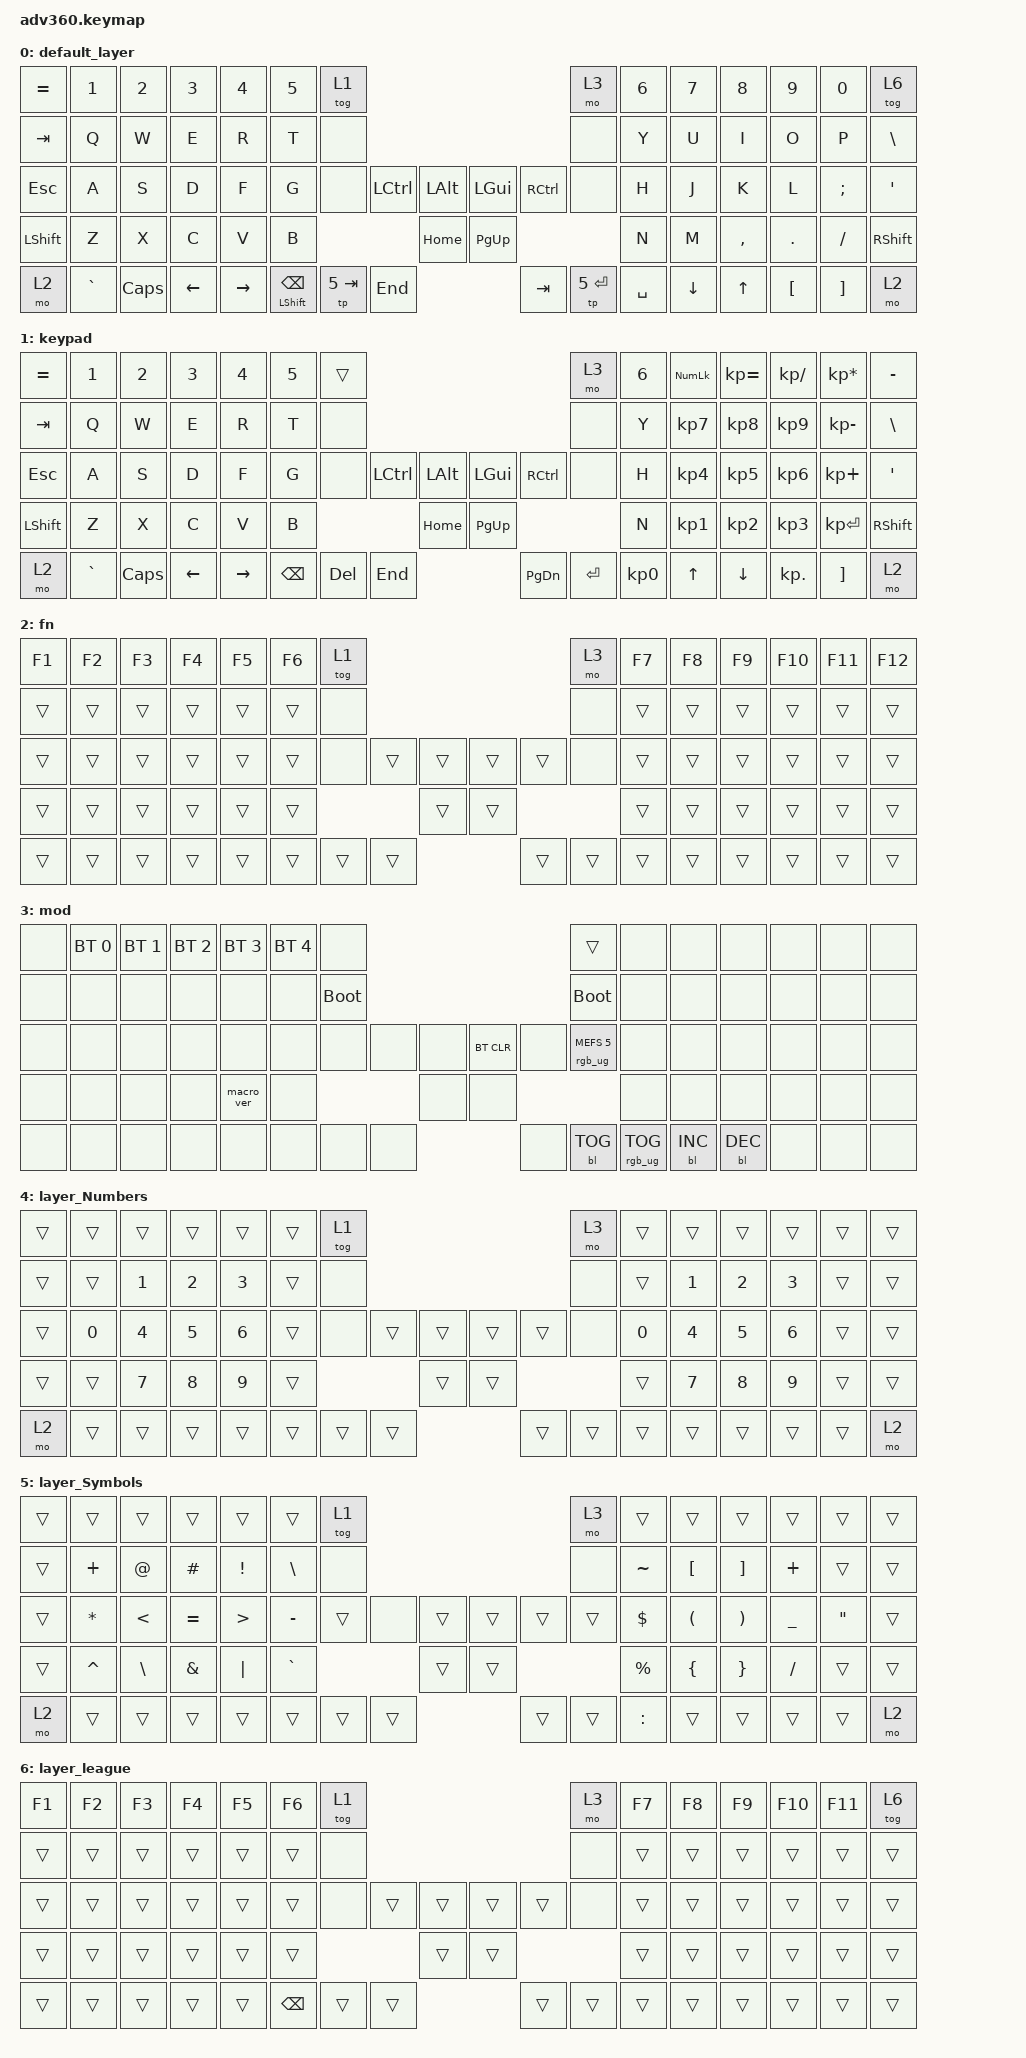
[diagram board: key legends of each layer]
#include <behaviors.dtsi>
#include <dt-bindings/zmk/keys.h>
#include <dt-bindings/zmk/bt.h>
#include <dt-bindings/zmk/rgb.h>
#include <dt-bindings/zmk/backlight.h>

/** shift if held, backspace if pressed */
#define BACK_SFT  &mt LEFT_SHIFT BACKSPACE
/** tab if pressed, swap to layer 2 if held */
#define TAB_2    &tp 5 TAB
/** enter if pressed, swap to layer 2 if held */
#define ENTER_2  &tp 5 ENTER 

/ {
    behaviors {
      #include "macros.dtsi"
      #include "version.dtsi"
      #include "behaviors.dtsi"
      #include "combos.dtsi"
      #ifndef VERSION_MACRO
      macro_ver: macro_ver {
        compatible = "zmk,behavior-macro";
        label = "macro_version";
        #binding-cells = <0>;
        bindings = <&kp RET>;
      };
      #endif

      hm: homerow_mods {
          compatible = "zmk,behavior-hold-tap";
          label = "HOMEROW_MODS";
          #binding-cells = <2>;
          tapping-term-ms = <200>;
          quick_tap_ms = <175>;
          flavor = "tap-preferred";
          bindings = <&kp>, <&kp>;
      };
    };

  keymap {
    compatible = "zmk,keymap";

    default_layer {
      bindings = <
        &kp EQUAL &kp N1    &kp N2   &kp N3   &kp N4     &kp N5 &tog 1                                                           &mo 3 &kp N6 &kp N7   &kp N8    &kp N9   &kp N0   &tog 6
        &kp TAB   &kp Q     &kp W    &kp E    &kp R      &kp T  &none                                                            &none &kp Y  &kp U    &kp I     &kp O    &kp P    &kp BSLH
        &kp ESC   &kp A     &kp S    &kp D    &kp F      &kp G  &none           &kp LCTRL &kp LALT &kp LGUI  &kp RCTRL           &none &kp H  &kp J    &kp K     &kp L    &kp SEMI &kp SQT
        &kp LSHFT &kp Z     &kp X    &kp C    &kp V      &kp B                            &kp HOME &kp PG_UP                           &kp N  &kp M    &kp COMMA &kp DOT  &kp FSLH &kp RSHFT
        &mo 2     &kp GRAVE &kp CAPS &kp LEFT &kp RIGHT                BACK_SFT TAB_2     &kp END  &kp TAB   ENTER_2   &kp SPACE              &kp DOWN &kp UP    &kp LBKT &kp RBKT &mo 2
      >;
    };
    keypad {
      bindings = <
        &kp EQUAL &kp N1    &kp N2   &kp N3   &kp N4     &kp N5 &trans                                                           &mo 3 &kp N6 &kp KP_NUM &kp KP_EQUAL &kp KP_DIVIDE &kp KP_MULTIPLY &kp MINUS
        &kp TAB   &kp Q     &kp W    &kp E    &kp R      &kp T  &none                                                            &none &kp Y  &kp KP_N7  &kp KP_N8    &kp KP_N9     &kp KP_MINUS    &kp BSLH
        &kp ESC   &kp A     &kp S    &kp D    &kp F      &kp G  &none           &kp LCTRL &kp LALT &kp LGUI  &kp RCTRL           &none &kp H  &kp KP_N4  &kp KP_N5    &kp KP_N6     &kp KP_PLUS     &kp SQT
        &kp LSHFT &kp Z     &kp X    &kp C    &kp V      &kp B                            &kp HOME &kp PG_UP                           &kp N  &kp KP_N1  &kp KP_N2    &kp KP_N3     &kp KP_ENTER    &kp RSHFT
        &mo 2     &kp GRAVE &kp CAPS &kp LEFT &kp RIGHT                &kp BSPC &kp DEL   &kp END  &kp PG_DN &kp ENTER &kp KP_N0              &kp UP     &kp DOWN     &kp KP_DOT    &kp RBKT        &mo 2
      >;
    };
    fn {
      bindings = <
        &kp F1 &kp F2 &kp F3 &kp F4 &kp F5 &kp F6 &tog 1                                           &mo 3 &kp F7 &kp F8 &kp F9 &kp F10 &kp F11 &kp F12
        &trans &trans &trans &trans &trans &trans  &none                                           &none &trans &trans &trans &trans  &trans  &trans
        &trans &trans &trans &trans &trans &trans  &none        &trans &trans &trans &trans        &none &trans &trans &trans &trans  &trans  &trans
        &trans &trans &trans &trans &trans &trans                      &trans &trans                     &trans &trans &trans &trans  &trans  &trans
        &trans &trans &trans &trans &trans               &trans &trans &trans &trans &trans &trans              &trans &trans &trans  &trans  &trans
      >;
    };
    mod {
      bindings = <
        &none &bt BT_SEL 0 &bt BT_SEL 1 &bt BT_SEL 2 &bt BT_SEL 3 &bt BT_SEL 4 &none                                                                     &trans                 &none        &none        &none        &none &none &none
        &none &none        &none        &none        &none        &none        &bootloader                                                               &bootloader            &none        &none        &none        &none &none &none
        &none &none        &none        &none        &none        &none        &none                   &none &none &bt BT_CLR &none                      &rgb_ug RGB_MEFS_CMD 5 &none        &none        &none        &none &none &none
        &none &none        &none        &none        &macro_ver   &none                                      &none &none                                                        &none        &none        &none        &none &none &none
        &none &none        &none        &none        &none                                       &none &none &none &none      &bl BL_TOG &rgb_ug RGB_TOG                                     &bl BL_INC   &bl BL_DEC   &none &none &none
      >;
    };
    layer_Numbers {
            bindings = <
        &trans &trans    &trans   &trans   &trans     &trans &tog 1                                                 &mo 3 &trans &trans &trans  &trans &trans &trans
        &trans &trans    &kp N1   &kp N2   &kp N3     &trans &none                                                  &none &trans &kp N1 &kp N2  &kp N3 &trans &trans
        &trans &kp N0    &kp N4   &kp N5   &kp N6     &trans &none           &trans &trans &trans  &trans           &none &kp N0 &kp N4 &kp N5  &kp N6 &trans &trans
        &trans &trans    &kp N7   &kp N8   &kp N9     &trans                        &trans &trans                         &trans &kp N7 &kp N8  &kp N9 &trans &trans
        &mo 2  &trans    &trans   &trans   &trans                     &trans &trans &trans &trans  &trans &trans                 &trans &trans  &trans &trans &mo 2
            >;
        };

    layer_Symbols {
            bindings = <
        &trans &trans    &trans        &trans    &trans            &trans      &tog 1                                                 &mo 3   &trans      &trans               &trans                &trans    &trans            &trans
        &trans &kp PLUS  &kp AT        &kp HASH  &kp EXCL          &kp BSLH    &none                                                  &none   &kp TILDE   &kp LEFT_BRACKET     &kp RIGHT_BRACKET     &kp PLUS  &trans            &trans
        &trans &kp STAR  &kp LESS_THAN &kp EQUAL &kp GREATER_THAN  &kp MINUS   &trans          &none  &trans &trans &trans            &trans  &kp DOLLAR  &kp LEFT_PARENTHESIS &kp RIGHT_PARENTHESIS &kp UNDER &kp DOUBLE_QUOTES &trans
        &trans &kp CARET &kp BSLH      &kp AMPS  &kp PIPE          &kp GRAVE                          &trans &trans                           &kp PERCENT &kp LEFT_BRACE       &kp RIGHT_BRACE       &kp SLASH &trans            &trans
        &mo 2  &trans    &trans        &trans    &trans                                 &trans &trans &trans &trans &trans &kp COLON                      &trans               &trans                &trans    &trans            &mo 2

            >;
        };

    layer_league {
      bindings = <
        &kp F1 &kp F2 &kp F3 &kp F4 &kp F5 &kp F6 &tog 1                                             &mo 3 &kp F7 &kp F8 &kp F9 &kp F10 &kp F11 &tog 6
        &trans &trans &trans &trans &trans &trans  &none                                             &none &trans &trans &trans &trans  &trans  &trans
        &trans &trans &trans &trans &trans &trans  &none          &trans &trans &trans &trans        &none &trans &trans &trans &trans  &trans  &trans
        &trans &trans &trans &trans &trans &trans                        &trans &trans                     &trans &trans &trans &trans  &trans  &trans
        &trans &trans &trans &trans &trans               &kp BSPC &trans &trans &trans &trans &trans              &trans &trans &trans  &trans  &trans
      >;
        };
  };
};
